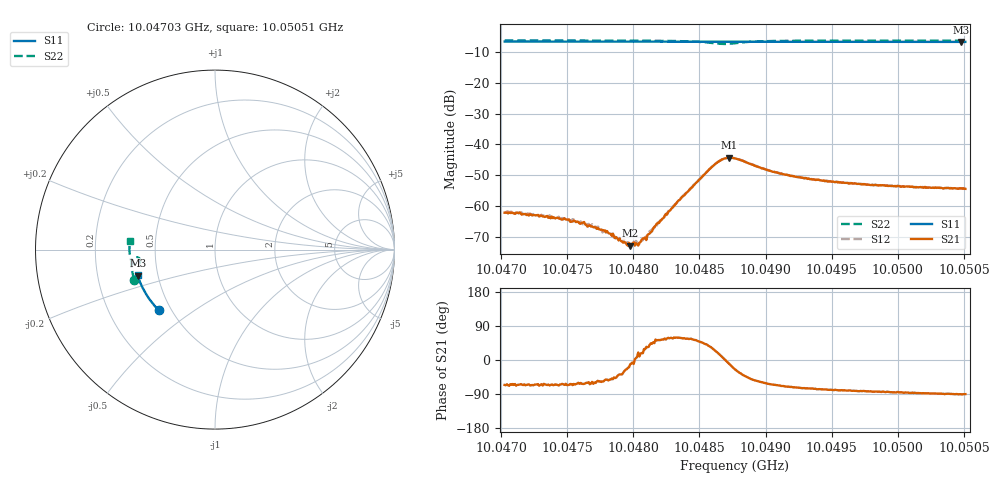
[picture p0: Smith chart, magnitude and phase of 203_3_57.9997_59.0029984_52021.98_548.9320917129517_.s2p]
#  HZ  S  RI  R  50.00
! Rohde & Schwarz Vector Network Analyzer
! Rohde-Schwarz,ZNB20-2Port,1311601062101988,3.16
! Created: UTC 3/21/2024, 12:59:20 AM
! freq[Hz]  re:S11  im:S11  re:S21  im:S21  re:S12  im:S12  re:S22  im:S22
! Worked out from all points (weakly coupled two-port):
!   401 points, 10.04703 GHz to 10.05051 GHz, reference 50 ohm
!   highest |S21| = -44.28 dB at 10.04873 GHz (marker M1); lowest = -72.7 dB at 10.04798 GHz (marker M2)
!   lowest |S11| = -6.9 dB at 10.05048 GHz (marker M3), VSWR 2.67, Z = 19.2 - j6.99 ohm
!   |S11| at or under -10 dB: nowhere
!   |S22| runs from -7.5 to -6.4 dB; largest |S21 - S12| = 0.00041
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1.0047027e10  -0.314 -0.337  0.000324 -0.000722  0.000374 -0.000724  -0.4496 -0.1666
1.0047131e10  -0.3188 -0.3321  0.000321 -0.000703  0.000346 -0.000707  -0.4517 -0.1599
1.0047445e10  -0.3329 -0.3169  0.00027 -0.000573  0.000296 -0.000556  -0.4578 -0.1388
1.004761e10  -0.3403 -0.3086  0.000248 -0.000478  0.000286 -0.000459  -0.4607 -0.1273
1.0047811e10  -0.3486 -0.2983  0.000218 -0.000299  0.000254 -0.000278  -0.4635 -0.1128
1.0047845e10  -0.3501 -0.2965  0.00023 -0.000281  0.000225 -0.000232  -0.4639 -0.1099
1.0047941e10  -0.354 -0.2915  0.000233 -0.000112  0.000233 -9.28e-05  -0.4649 -0.1026
1.0047976e10  -0.3555 -0.2896  0.000227 -4.7e-05  0.000227 -5.13e-05  -0.4652 -0.0998
1.0048028e10  -0.3575 -0.2868  0.000243 3.37e-05  0.00026 1.42e-05  -0.4658 -0.0957
1.0048055e10  -0.3586 -0.2855  0.000255 7.66e-05  0.00024 0.000112  -0.466 -0.0935
1.0048116e10  -0.3609 -0.2823  0.000292 0.000204  0.000298 0.000212  -0.4661 -0.0883
1.0048194e10  -0.3641 -0.2781  0.000327 0.000428  0.000329 0.00044  -0.4661 -0.0813
1.0048368e10  -0.3707 -0.2685  0.000758 0.0012  0.000705 0.00123  -0.4626 -0.0632
1.0048595e10  -0.3786 -0.2559  0.0037 0.00228  0.00359 0.0025  -0.4342 -0.0424
1.0048664e10  -0.3807 -0.2522  0.00551 0.00105  0.0055 0.00138  -0.419 -0.0525
1.0048725e10  -0.3829 -0.2488  0.006 -0.00116  0.00612 -0.000766  -0.4178 -0.0704
1.0048769e10  -0.3843 -0.2468  0.00542 -0.00249  0.0056 -0.00213  -0.4256 -0.0797
1.0049056e10  -0.3942 -0.2305  0.00154 -0.00327  0.00174 -0.00323  -0.4659 -0.0633
1.0049352e10  -0.4033 -0.2131  0.000703 -0.00264  0.000841 -0.00264  -0.4739 -0.0364
1.0049936e10  -0.419 -0.178  0.000189 -0.00213  0.000324 -0.00214  -0.4766 0.00747
1.0050476e10  -0.4307 -0.1445  -9.31e-06 -0.00196  0.000116 -0.00195  -0.4744 0.0449
1.0050511e10  -0.4317 -0.1424  -7.45e-07 -0.00192  8.9e-05 -0.00194  -0.4741 0.0471
